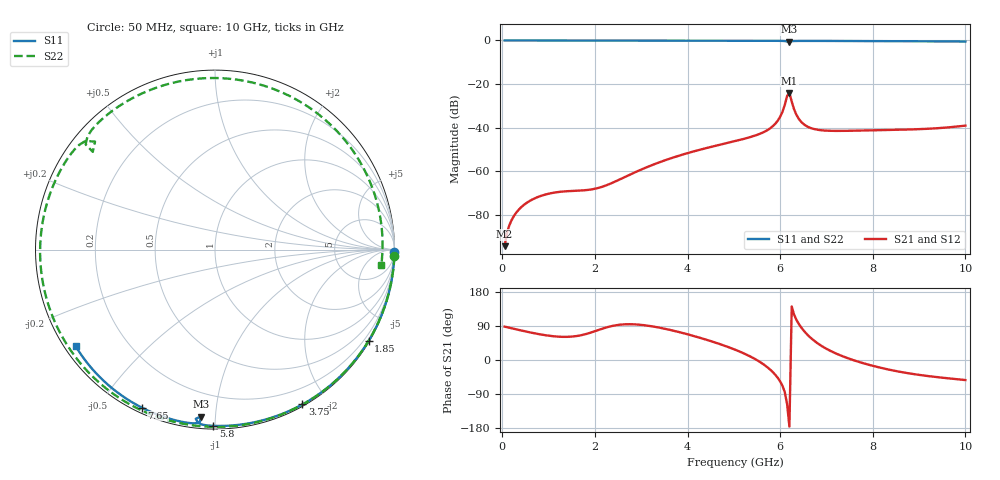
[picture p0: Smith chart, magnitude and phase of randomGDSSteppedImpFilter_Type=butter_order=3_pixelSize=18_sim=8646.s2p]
! freq	dB(S11)	phase(S11)	dB(S12)	phase(S12)
!  dB(S21)	phase(S21)	dB(S22)	phase(S22)
!S-par simulation data
#  GHz  S  DB  R 50
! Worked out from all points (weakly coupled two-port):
!   200 points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, 50 MHz to 10 GHz, reference 50 ohm
!   highest |S21| = -24.10 dB at 6.2 GHz (marker M1); lowest = -94.4 dB at 50 MHz (marker M2)
!   lowest |S11| = -0.6 dB at 6.2 GHz (marker M3), VSWR 29.27, Z = 3.14 - j45.8 ohm
!   |S11| at or under -10 dB: nowhere
!   |S22| runs from -1.2 to 0.0 dB; largest |S21 - S12| = 0
!   S11 on the Smith chart (normalised r, x): 50 MHz: open; 1.85 GHz: 0.03, -3.65; 3.75 GHz: 0.02, -1.71; 5.8 GHz: 0.02, -0.99; 7.65 GHz: 0.02, -0.64; 10 GHz: 0.03, -0.31
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0.05  -0.00 -0.9  -94.37 88.1  -94.37 88.1  -0.00 -2.2
0.25  -0.01 -4.2  -80.55 82.4  -80.55 82.4  -0.01 -10.9
0.5  -0.01 -8.4  -74.89 75.4  -74.89 75.4  -0.03 -21.7
0.85  -0.02 -14.2  -71.19 66.9  -71.19 66.9  -0.05 -36.6
1.75  -0.04 -29.0  -68.76 66.7  -68.76 66.7  -0.09 -73.1
1.85  -0.04 -30.7  -68.56 70.0  -68.56 70.0  -0.09 -77.0
2.6  -0.05 -42.7  -63.12 93.9  -63.12 93.9  -0.12 -104.6
3.4  -0.07 -55.2  -55.83 85.2  -55.83 85.2  -0.15 -131.8
3.75  -0.08 -60.5  -53.30 75.7  -53.30 75.7  -0.17 -143.1
4.4  -0.10 -70.2  -49.40 53.8  -49.40 53.8  -0.20 -163.7
5.05  -0.12 -79.7  -46.04 26.1  -46.04 26.1  -0.23 175.9
5.8  -0.16 -90.5  -40.06 -27.1  -40.06 -27.1  -0.29 151.7
6  -0.19 -93.7  -35.02 -56.5  -35.02 -56.5  -0.35 144.5
6.15  -0.46 -96.5  -25.45 -116.4  -25.45 -116.4  -0.92 138.0
6.2  -0.59 -94.9  -24.10 -175.7  -24.10 -175.7  -1.19 141.3
6.3  -0.25 -96.0  -31.55 120.0  -31.55 120.0  -0.45 138.4
6.4  -0.21 -97.7  -35.89 95.7  -35.89 95.7  -0.36 134.2
6.7  -0.20 -102.1  -40.45 54.3  -40.45 54.3  -0.34 123.3
7.65  -0.26 -114.9  -41.37 -3.1  -41.37 -3.1  -0.39 89.1
8.35  -0.32 -124.0  -41.07 -25.4  -41.07 -25.4  -0.44 62.3
9.25  -0.41 -135.5  -40.45 -43.2  -40.45 -43.2  -0.51 25.9
10  -0.49 -145.2  -39.06 -53.0  -39.06 -53.0  -0.63 -5.4
